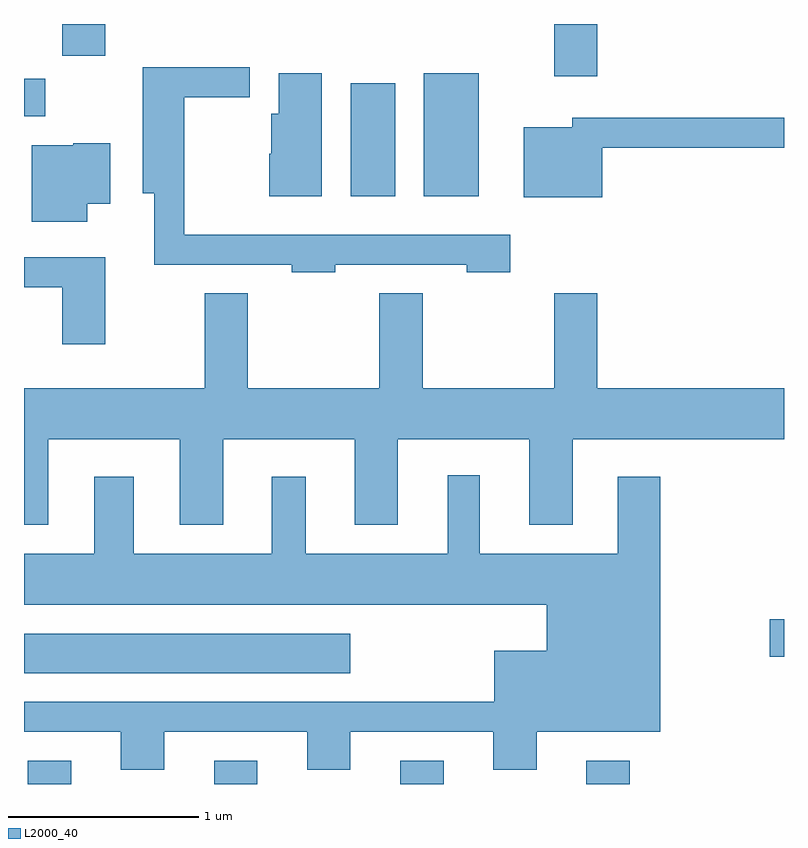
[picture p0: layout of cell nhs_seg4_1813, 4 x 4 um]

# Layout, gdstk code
import gdstk
lib = gdstk.Library(unit=1e-6, precision=1e-09)
def R(c, l, rs):  # rectangles x0, y0, x1, y1
    for r in rs: c.add(gdstk.rectangle(r[:2], r[2:], *l))
def A(c, l, x, y, w, h, nx, ny, dx, dy):  # array of equal rectangles
    R(c, l, [(x+i*dx, y+j*dy, x+i*dx+w, y+j*dy+h) for i in range(nx) for j in range(ny)])
def P(c, l, *ps):  # polygons
    for p in ps: c.add(gdstk.Polygon(p, *l))
L2000_40 = (2000, 40)

nhs_seg4_1813 = lib.new_cell('nhs_seg4_1813')
A(nhs_seg4_1813, L2000_40, 237.631, 1343.982, 0.228, 0.122, 4, 1, 0.98, 0)
R(nhs_seg4_1813, L2000_40, [(237.611,1344.566,239.329,1344.774), (241.536,1344.651,241.611,1344.849), (239.331,1347.076,239.564,1347.669), (239.716,1347.076,240.004,1347.724), (237.611,1347.496,237.724,1347.694), (240.401,1347.706,240.629,1347.982), (237.811,1347.816,238.039,1347.982)])
P(nhs_seg4_1813, L2000_40, [(239.249,1346.716),(239.941,1346.716),(239.941,1346.676),(240.169,1346.676),(240.169,1346.874),(238.454,1346.874),(238.454,1347.596),(238.798,1347.596),(238.798,1347.754),(238.236,1347.754),(238.236,1347.091),(238.296,1347.091),(238.296,1346.716),(239.021,1346.716),(239.021,1346.676),(239.249,1346.676)],
  [(239.179,1347.724),(238.951,1347.724),(238.951,1347.509),(238.911,1347.509),(238.911,1347.3),(238.901,1347.3),(238.901,1347.076),(239.179,1347.076)],
  [(240.654,1347.331),(241.611,1347.331),(241.611,1347.489),(240.496,1347.489),(240.496,1347.439),(240.241,1347.439),(240.241,1347.071),(240.654,1347.071)],
  [(237.944,1347.036),(238.064,1347.036),(238.064,1347.354),(237.87,1347.354),(237.87,1347.344),(237.651,1347.344),(237.651,1346.941),(237.944,1346.941)],
  [(238.039,1346.754),(237.611,1346.754),(237.611,1346.596),(237.811,1346.596),(237.811,1346.296),(238.039,1346.296)],
  [(237.739,1345.796),(238.431,1345.796),(238.431,1345.346),(238.659,1345.346),(238.659,1345.796),(239.351,1345.796),(239.351,1345.346),(239.579,1345.346),(239.579,1345.796),(240.271,1345.796),(240.271,1345.346),(240.499,1345.346),(240.499,1345.796),(241.611,1345.796),(241.611,1346.064),(240.629,1346.064),(240.629,1346.564),(240.401,1346.564),(240.401,1346.064),(239.709,1346.064),(239.709,1346.564),(239.481,1346.564),(239.481,1346.064),(238.789,1346.064),(238.789,1346.564),(238.561,1346.564),(238.561,1346.064),(237.611,1346.064),(237.611,1345.346),(237.739,1345.346)],
  [(238.349,1344.256),(239.101,1344.256),(239.101,1344.056),(239.329,1344.056),(239.329,1344.256),(240.081,1344.256),(240.081,1344.056),(240.309,1344.056),(240.309,1344.256),(240.959,1344.256),(240.959,1345.599),(240.736,1345.599),(240.736,1345.194),(240.009,1345.194),(240.009,1345.608),(239.841,1345.608),(239.841,1345.194),(239.094,1345.194),(239.094,1345.599),(238.916,1345.599),(238.916,1345.194),(238.189,1345.194),(238.189,1345.599),(237.981,1345.599),(237.981,1345.194),(237.611,1345.194),(237.611,1344.926),(240.361,1344.926),(240.361,1344.684),(240.086,1344.684),(240.086,1344.414),(237.611,1344.414),(237.611,1344.256),(238.121,1344.256),(238.121,1344.056),(238.349,1344.056)])

lib.write_gds('nhs_seg4_1813.gds')
